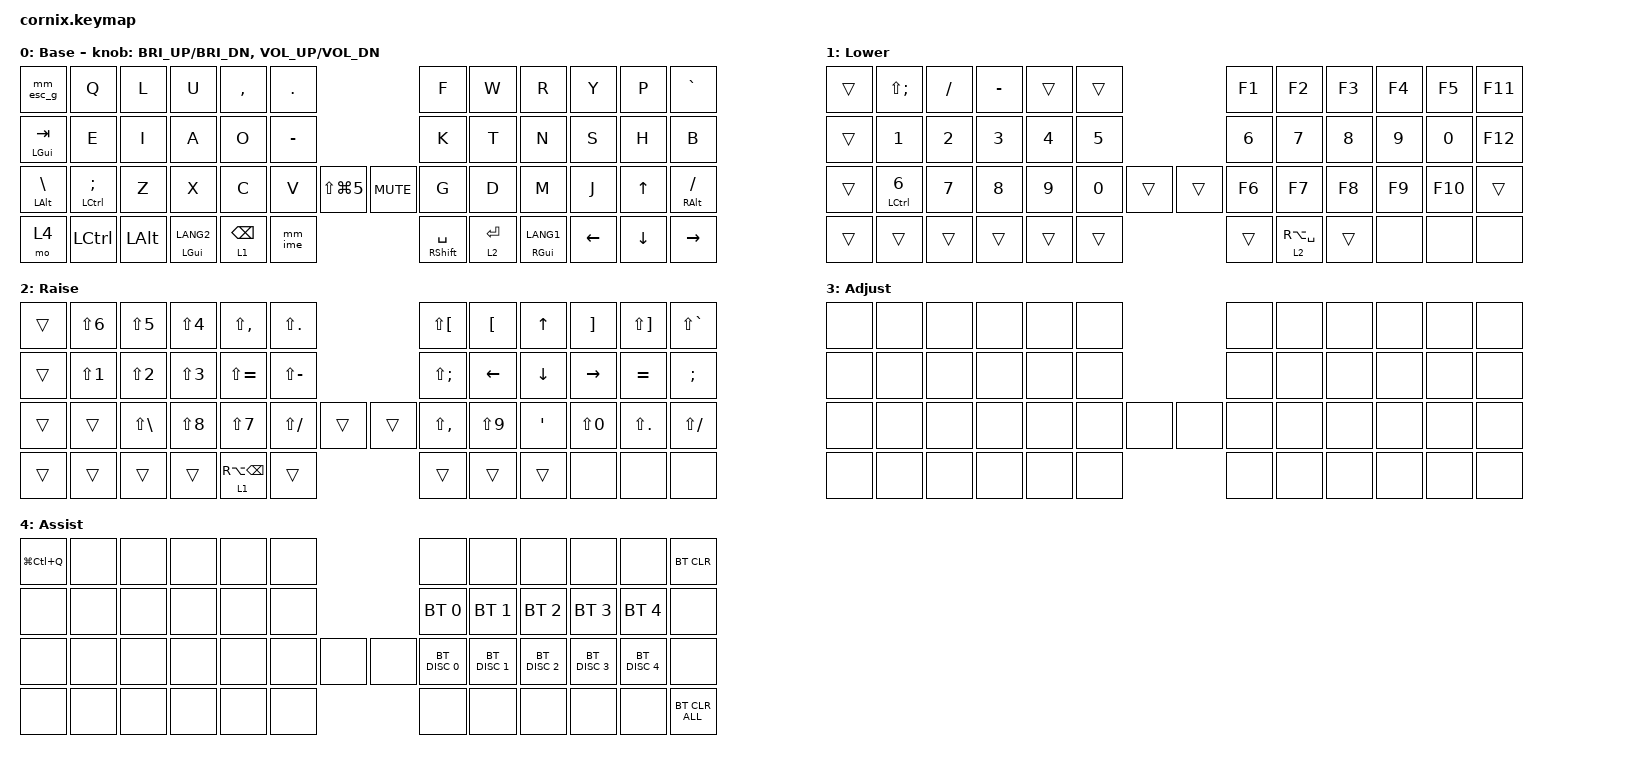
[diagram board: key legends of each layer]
/*
 * Copyright (c) 2020 The ZMK Contributors
 *
 * SPDX-License-Identifier: MIT
 */

#include "zmk-helpers/helper.h"
#include "includes/cornix54.h"
#include <behaviors.dtsi>
#include <dt-bindings/zmk/bt.h>
#include <dt-bindings/zmk/keys.h>

&mt { flavor = "hold-preferred"; };

&lt { flavor = "hold-preferred"; };

/ {
    conditional_layers {
        compatible = "zmk,conditional-layers";

        adjust_layer {
            if-layers = <1 2>;
            then-layer = <3>;
        };
    };

    combos {
        compatible = "zmk,combos";

        l-enter {
            bindings = <&kp ENTER>;
            key-positions = <3 4>;
            layers = <0>;
        };

        cmd-a {
            bindings = <&kp LG(A)>;
            key-positions = <14 15 16>;
            layers = <0>;
        };

        cmd-z {
            bindings = <&kp LG(Z)>;
            key-positions = <26 27>;
            layers = <0>;
        };

        cmd-x {
            bindings = <&kp LG(X)>;
            key-positions = <14 16>;
            layers = <0>;
        };

        cmd-c {
            bindings = <&kp LG(C)>;
            key-positions = <14 15>;
            layers = <0>;
        };

        cmd-v {
            bindings = <&kp LG(V)>;
            key-positions = <15 16>;
            layers = <0>;
        };

        cmd-w {
            bindings = <&kp LG(W)>;
            key-positions = <2 3>;
            layers = <0>;
        };

        cmd-q {
            bindings = <&kp LG(Q)>;
            key-positions = <2 3 4>;
            layers = <0>;
        };

        ctrl-j {
            bindings = <&kp LC(J)>;
            key-positions = <19 20>;
            layers = <0>;
        };

        ctrl-k {
            bindings = <&kp LC(K)>;
            key-positions = <20 21>;
            layers = <0>;
        };

        ctrl-l {
            bindings = <&kp LC(L)>;
            key-positions = <19 20 21>;
            layers = <0>;
        };

        ctrl-semi {
            bindings = <&kp LC(SEMI)>;
            key-positions = <19 21>;
            layers = <0>;
        };

        del {
            bindings = <&kp DEL>;
            key-positions = <11 10>;
        };
    };

    behaviors {
        mm_ime: mm_ime {
            compatible = "zmk,behavior-mod-morph";
            label = "MM_IME";
            bindings = <&mt LSHFT SPACE>, <&mt LSHFT SPACE>;

            #binding-cells = <0>;
            mods = <(MOD_LGUI)>;
            keep-mods = <(MOD_LGUI)>;
        };

        mm_esc_s: mm_esc_s {
            compatible = "zmk,behavior-mod-morph";
            #binding-cells = <0>;
            bindings = <&kp ESC>, <&kp TILDE>;

            mods = <(MOD_LSFT|MOD_RSFT)>;
            label = "MM_ESC_S";
        };

        mm_esc_g: mm_esc_g {
            compatible = "zmk,behavior-mod-morph";
            #binding-cells = <0>;
            bindings = <&mm_esc_s>, <&kp GRAVE>;

            mods = <(MOD_LGUI|MOD_RGUI)>;
            keep-mods = <(MOD_LGUI|MOD_RGUI)>;
            label = "MM_ESC_G";
        };
    };

    keymap {
        compatible = "zmk,keymap";

        base_layer {
            display-name = "Base";
            bindings = <
&mm_esc_g      &kp Q           &kp L     &kp U           &kp COMMA   &kp DOT                                &kp F            &kp W        &kp R           &kp Y     &kp P     &kp GRAVE
&mt LGUI TAB   &kp E           &kp I     &kp A           &kp O       &kp MINUS                              &kp K            &kp T        &kp N           &kp S     &kp H     &kp B
&mt LALT BSLH  &mt LCTRL SEMI  &kp Z     &kp X           &kp C       &kp V      &kp LS(LG(N5))  &kp C_MUTE  &kp G            &kp D        &kp M           &kp J     &kp UP    &mt RALT SLASH
&mo 4          &kp LCTRL       &kp LALT  &mt LGUI LANG2  &lt 1 BSPC  &mm_ime                                &mt RSHFT SPACE  &lt 2 ENTER  &mt RGUI LANG1  &kp LEFT  &kp DOWN  &kp RIGHT
            >;

            sensor-bindings =
                <&inc_dec_kp C_BRI_UP C_BRI_DN>,
                <&inc_dec_kp C_VOL_UP C_VOL_DN>;
        };

        lower_layer {
            display-name = "Lower";
            bindings = <
&trans  &kp LS(SEMICOLON)   &kp SLASH     &kp MINUS     &trans        &trans                        &kp F1        &kp F2           &kp F3        &kp F4        &kp F5        &kp F11
&trans  &kp NUMBER_1        &kp NUMBER_2  &kp NUMBER_3  &kp NUMBER_4  &kp NUMBER_5                  &kp NUMBER_6  &kp NUMBER_7     &kp NUMBER_8  &kp NUMBER_9  &kp NUMBER_0  &kp F12
&trans  &mt LCTRL NUMBER_6  &kp NUMBER_7  &kp NUMBER_8  &kp NUMBER_9  &kp NUMBER_0  &trans  &trans  &kp F6        &kp F7           &kp F8        &kp F9        &kp F10       &trans
&trans  &trans              &trans        &trans        &trans        &trans                        &trans        &lt 2 RA(SPACE)  &trans        &none         &none         &none
            >;
        };

        raise_layer {
            display-name = "Raise";
            bindings = <
&trans  &kp LS(NUMBER_6)  &kp LS(NUMBER_5)   &kp LS(NUMBER_4)  &kp LS(COMMA)     &kp LS(DOT)                    &kp LS(LEFT_BRACKET)  &kp LEFT_BRACKET  &kp UP    &kp RIGHT_BRACKET  &kp LS(RIGHT_BRACKET)  &kp LS(GRAVE)
&trans  &kp LS(NUMBER_1)  &kp LS(NUMBER_2)   &kp LS(NUMBER_3)  &kp LS(EQUAL)     &kp LS(MINUS)                  &kp LS(SEMICOLON)     &kp LEFT          &kp DOWN  &kp RIGHT          &kp EQUAL              &kp SEMICOLON
&trans  &trans            &kp LS(BACKSLASH)  &kp LS(NUMBER_8)  &kp LS(NUMBER_7)  &kp LS(SLASH)  &trans  &trans  &kp LS(COMMA)         &kp LS(NUMBER_9)  &kp SQT   &kp LS(NUMBER_0)   &kp LS(DOT)            &kp LS(SLASH)
&trans  &trans            &trans             &trans            &lt 1 RA(BSPC)    &trans                         &trans                &trans            &trans    &none              &none                  &none
            >;
        };

        adjust_layer {
            display-name = "Adjust";
            bindings = <
&none  &none  &none  &none  &none  &none                &none  &none  &none  &none  &none  &none
&none  &none  &none  &none  &none  &none                &none  &none  &none  &none  &none  &none
&none  &none  &none  &none  &none  &none  &none  &none  &none  &none  &none  &none  &none  &none
&none  &none  &none  &none  &none  &none                &none  &none  &none  &none  &none  &none
            >;
        };

        assist_layer {
            display-name = "Assist";
            bindings = <
&kp LG(LC(Q))  &none  &none  &none  &none  &none                &none          &none          &none          &none          &none          &bt BT_CLR
&none          &none  &none  &none  &none  &none                &bt BT_SEL 0   &bt BT_SEL 1   &bt BT_SEL 2   &bt BT_SEL 3   &bt BT_SEL 4   &none
&none          &none  &none  &none  &none  &none  &none  &none  &bt BT_DISC 0  &bt BT_DISC 1  &bt BT_DISC 2  &bt BT_DISC 3  &bt BT_DISC 4  &none
&none          &none  &none  &none  &none  &none                &none          &none          &none          &none          &none          &bt BT_CLR_ALL
            >;
        };
    };
};
